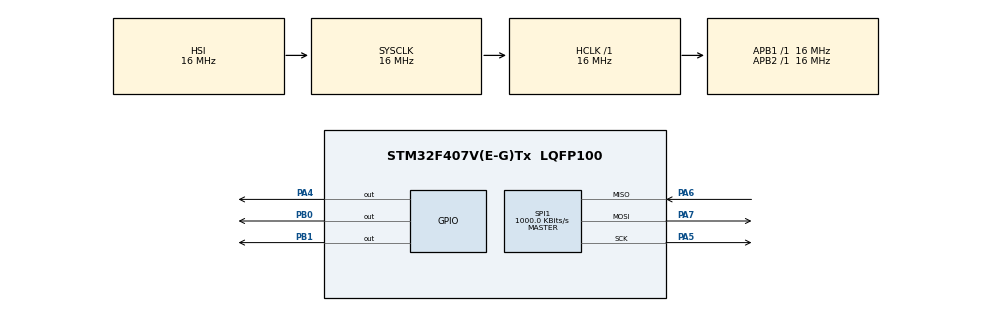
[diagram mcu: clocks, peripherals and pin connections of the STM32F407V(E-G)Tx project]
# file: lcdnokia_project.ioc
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Mcu.Family=STM32F4
Mcu.Name=STM32F407V(E-G)Tx
Mcu.Package=LQFP100
NVIC.PriorityGroup=NVIC_PRIORITYGROUP_4
PA4.Signal=GPIO_Output
PA5.Mode=Full_Duplex_Master
PA5.Signal=SPI1_SCK
PA6.Mode=Full_Duplex_Master
PA6.Signal=SPI1_MISO
PA7.Mode=Full_Duplex_Master
PA7.Signal=SPI1_MOSI
PB0.Signal=GPIO_Output
PB1.Signal=GPIO_Output
ProjectManager.HeapSize=0x200
ProjectManager.StackSize=0x400
ProjectManager.TargetToolchain=STM32CubeIDE
RCC.AHBFreq_Value=16000000
RCC.APB1Freq_Value=16000000
RCC.APB2Freq_Value=16000000
RCC.CortexFreq_Value=16000000
RCC.HSE_VALUE=25000000
RCC.HSI_VALUE=16000000
RCC.LSE_VALUE=32768
RCC.SYSCLKFreq_VALUE=16000000
RCC.VCOOutputFreq_Value=192000000
SPI1.BaudRatePrescaler=SPI_BAUDRATEPRESCALER_16
SPI1.CalculateBaudRate=1000.0 KBits/s
SPI1.Direction=SPI_DIRECTION_2LINES
SPI1.Mode=SPI_MODE_MASTER
SPI1.VirtualType=VM_MASTER
board=custom

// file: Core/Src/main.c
/* USER CODE BEGIN Header */
/**
  ******************************************************************************
  * @file           : main.c
  * @brief          : Main program body
  ******************************************************************************
  * @attention
  *
  * Copyright (c) 2025 STMicroelectronics.
  * All rights reserved.
  *
  * This software is licensed under terms that can be found in the LICENSE file
  * in the root directory of this software component.
  * If no LICENSE file comes with this software, it is provided AS-IS.
  *
  ******************************************************************************
  */
/* USER CODE END Header */
#include "main.h"
#include "string.h"

/* USER CODE BEGIN PD */
const uint8_t font5x7[][5] = {
    {0x00,0x00,0x00,0x00,0x00}, // 32 (space)
    {0x00,0x00,0x5F,0x00,0x00}, // 33 !
    {0x00,0x07,0x00,0x07,0x00}, // 34 "
    {0x14,0x7F,0x14,0x7F,0x14}, // 35 #
    {0x24,0x2A,0x7F,0x2A,0x12}, // 36 $
    {0x23,0x13,0x08,0x64,0x62}, // 37 %
    {0x36,0x49,0x55,0x22,0x50}, // 38 &
    {0x00,0x05,0x03,0x00,0x00}, // 39 '
    {0x00,0x1C,0x22,0x41,0x00}, // 40 (
    {0x00,0x41,0x22,0x1C,0x00}, // 41 )
    {0x14,0x08,0x3E,0x08,0x14}, // 42 *
    {0x08,0x08,0x3E,0x08,0x08}, // 43 +
    {0x00,0x50,0x30,0x00,0x00}, // 44 ,
    {0x08,0x08,0x08,0x08,0x08}, // 45 -
    {0x00,0x60,0x60,0x00,0x00}, // 46 .
    {0x20,0x10,0x08,0x04,0x02}, // 47 /
    {0x3E,0x51,0x49,0x45,0x3E}, // 48 0
    {0x00,0x42,0x7F,0x40,0x00}, // 49 1
    {0x42,0x61,0x51,0x49,0x46}, // 50 2
    {0x21,0x41,0x45,0x4B,0x31}, // 51 3
    {0x18,0x14,0x12,0x7F,0x10}, // 52 4
    {0x27,0x45,0x45,0x45,0x39}, // 53 5
    {0x3C,0x4A,0x49,0x49,0x30}, // 54 6
    {0x01,0x71,0x09,0x05,0x03}, // 55 7
    {0x36,0x49,0x49,0x49,0x36}, // 56 8
    {0x06,0x49,0x49,0x29,0x1E}, // 57 9
    {0x00,0x36,0x36,0x00,0x00}, // 58 :
    {0x00,0x56,0x36,0x00,0x00}, // 59 ;
    {0x08,0x14,0x22,0x41,0x00}, // 60 <
    {0x14,0x14,0x14,0x14,0x14}, // 61 =
    {0x00,0x41,0x22,0x14,0x08}, // 62 >
    {0x02,0x01,0x51,0x09,0x06}, // 63 ?
    {0x32,0x49,0x79,0x41,0x3E}, // 64 @
    {0x7E,0x11,0x11,0x11,0x7E}, // 65 A
    {0x7F,0x49,0x49,0x49,0x36}, // 66 B
    {0x3E,0x41,0x41,0x41,0x22}, // 67 C
    {0x7F,0x41,0x41,0x22,0x1C}, // 68 D
    {0x7F,0x49,0x49,0x49,0x41}, // 69 E
    {0x7F,0x09,0x09,0x09,0x01}, // 70 F
    {0x3E,0x41,0x49,0x49,0x7A}, // 71 G
    {0x7F,0x08,0x08,0x08,0x7F}, // 72 H
    {0x00,0x41,0x7F,0x41,0x00}, // 73 I
    {0x20,0x40,0x41,0x3F,0x01}, // 74 J
    {0x7F,0x08,0x14,0x22,0x41}, // 75 K
    {0x7F,0x40,0x40,0x40,0x40}, // 76 L
    {0x7F,0x02,0x0C,0x02,0x7F}, // 77 M
    {0x7F,0x04,0x08,0x10,0x7F}, // 78 N
    {0x3E,0x41,0x41,0x41,0x3E}, // 79 O
    {0x7F,0x09,0x09,0x09,0x06}, // 80 P
    {0x3E,0x41,0x51,0x21,0x5E}, // 81 Q
    {0x7F,0x09,0x19,0x29,0x46}, // 82 R
    {0x46,0x49,0x49,0x49,0x31}, // 83 S
    {0x01,0x01,0x7F,0x01,0x01}, // 84 T
    {0x3F,0x40,0x40,0x40,0x3F}, // 85 U
    {0x1F,0x20,0x40,0x20,0x1F}, // 86 V
    {0x3F,0x40,0x38,0x40,0x3F}, // 87 W
    {0x63,0x14,0x08,0x14,0x63}, // 88 X
    {0x07,0x08,0x70,0x08,0x07}, // 89 Y
    {0x61,0x51,0x49,0x45,0x43}, // 90 Z
    {0x00,0x7F,0x41,0x41,0x00}, // 91 [
    {0x02,0x04,0x08,0x10,0x20}, // 92 backslash
    {0x00,0x41,0x41,0x7F,0x00}, // 93 ]
    {0x04,0x02,0x01,0x02,0x04}, // 94 ^
    {0x40,0x40,0x40,0x40,0x40}, // 95 _
    {0x00,0x01,0x02,0x04,0x00}, // 96 `
    {0x20,0x54,0x54,0x54,0x78}, // 97 a
    {0x7F,0x48,0x44,0x44,0x38}, // 98 b
    {0x38,0x44,0x44,0x44,0x20}, // 99 c
    {0x38,0x44,0x44,0x48,0x7F}, // 100 d
    {0x38,0x54,0x54,0x54,0x18}, // 101 e
    {0x08,0x7E,0x09,0x01,0x02}, // 102 f
    {0x0C,0x52,0x52,0x52,0x3E}, // 103 g
    {0x7F,0x08,0x04,0x04,0x78}, // 104 h
    {0x00,0x44,0x7D,0x40,0x00}, // 105 i
    {0x20,0x40,0x44,0x3D,0x00}, // 106 j
    {0x7F,0x10,0x28,0x44,0x00}, // 107 k
    {0x00,0x41,0x7F,0x40,0x00}, // 108 l
    {0x7C,0x04,0x18,0x04,0x78}, // 109 m
    {0x7C,0x08,0x04,0x04,0x78}, // 110 n
    {0x38,0x44,0x44,0x44,0x38}, // 111 o
    {0x7C,0x14,0x14,0x14,0x08}, // 112 p
    {0x08,0x14,0x14,0x18,0x7C}, // 113 q
    {0x7C,0x08,0x04,0x04,0x08}, // 114 r
    {0x48,0x54,0x54,0x54,0x20}, // 115 s
    {0x04,0x3F,0x44,0x40,0x20}, // 116 t
    {0x3C,0x40,0x40,0x20,0x7C}, // 117 u
    {0x1C,0x20,0x40,0x20,0x1C}, // 118 v
    {0x3C,0x40,0x30,0x40,0x3C}, // 119 w
    {0x44,0x28,0x10,0x28,0x44}, // 120 x
    {0x0C,0x50,0x50,0x50,0x3C}, // 121 y
    {0x44,0x64,0x54,0x4C,0x44}, // 122 z
    {0x00,0x08,0x36,0x41,0x00}, // 123 {
    {0x00,0x00,0x7F,0x00,0x00}, // 124 |
    {0x00,0x41,0x36,0x08,0x00}, // 125 }
    {0x08,0x04,0x08,0x10,0x08}, // 126 ~
};

/* USER CODE END PD */

/* USER CODE BEGIN PM */
#define LCD_RST_Pin GPIO_PIN_0
#define LCD_RST_GPIO_Port GPIOB
#define LCD_CE_Pin  GPIO_PIN_4
#define LCD_CE_GPIO_Port GPIOA
#define LCD_DC_Pin  GPIO_PIN_1
#define LCD_DC_GPIO_Port GPIOB

/* USER CODE END PM */

SPI_HandleTypeDef hspi1;

void SystemClock_Config(void);
static void MX_GPIO_Init(void);
static void MX_SPI1_Init(void);
/* USER CODE BEGIN PFP */

// Komut & Data yazma
void LCD_write(uint8_t data, uint8_t isData)
{
    HAL_GPIO_WritePin(LCD_DC_GPIO_Port, LCD_DC_Pin, (isData ? GPIO_PIN_SET : GPIO_PIN_RESET));
    HAL_GPIO_WritePin(LCD_CE_GPIO_Port, LCD_CE_Pin, GPIO_PIN_RESET);
    HAL_SPI_Transmit(&hspi1, &data, 1, HAL_MAX_DELAY);
    HAL_GPIO_WritePin(LCD_CE_GPIO_Port, LCD_CE_Pin, GPIO_PIN_SET);
}

// LCD reset
void LCD_reset(void)
{
    HAL_GPIO_WritePin(LCD_RST_GPIO_Port, LCD_RST_Pin, GPIO_PIN_RESET);
    HAL_Delay(30);
    HAL_GPIO_WritePin(LCD_RST_GPIO_Port, LCD_RST_Pin, GPIO_PIN_SET);
}

// LCD init
void LCD_init(void)
{
    LCD_reset();

    LCD_write(0x21, 0); // extended commands 0010 0001
    LCD_write(0xBf, 0); // contrast   1011 1111
    LCD_write(0x04, 0); // temperature coef 0000 0100
    LCD_write(0x14, 0); // bias mode 0001 0100
    LCD_write(0x20, 0); // basic mode 0010 0000
    LCD_write(0x0C, 0); // normal display 0000 1100
}

// Cursor ayarı
void LCD_setCursor(uint8_t x, uint8_t y)
{
    LCD_write(0x80 | x, 0);
    LCD_write(0x40 | y, 0);
}

// Basit text yazdırma (5x7 font tablosu lazım)
extern const uint8_t font5x7[][5];

void LCD_printChar(char c)
{
    if(c < 0x20 || c > 0x7E) c = '?';
    for(int i=0;i<5;i++){
        LCD_write(font5x7[c - 0x20][i], 1);
    }
    LCD_write(0x00, 1); // spacing
}

void LCD_print(char *str)
{
    while(*str){
        LCD_printChar(*str++);
    }
}
/* USER CODE END PFP */

int main(void)
{

  /* MCU Configuration--------------------------------------------------------*/

  /* Reset of all peripherals, Initializes the Flash interface and the Systick. */
  HAL_Init();

  /* Configure the system clock */
  SystemClock_Config();

  /* Initialize all configured peripherals */
  MX_GPIO_Init();
  MX_SPI1_Init();
  /* USER CODE BEGIN 2 */
  LCD_init();
  LCD_setCursor(0,0);
  LCD_print("Ferit");
  LCD_setCursor(0,1);
  LCD_print("Samet");
  LCD_setCursor(0,2);
  LCD_print("Beyza");
  LCD_setCursor(0,3);
  LCD_print("ahmet");
  /* USER CODE END 2 */

  /* Infinite loop */
  while (1)
  {

  }
}

void SystemClock_Config(void)
{
  RCC_OscInitTypeDef RCC_OscInitStruct = {0};
  RCC_ClkInitTypeDef RCC_ClkInitStruct = {0};

  /** Configure the main internal regulator output voltage
  */
  __HAL_RCC_PWR_CLK_ENABLE();
  __HAL_PWR_VOLTAGESCALING_CONFIG(PWR_REGULATOR_VOLTAGE_SCALE1);

  /** Initializes the RCC Oscillators according to the specified parameters
  * in the RCC_OscInitTypeDef structure.
  */
  RCC_OscInitStruct.OscillatorType = RCC_OSCILLATORTYPE_HSI;
  RCC_OscInitStruct.HSIState = RCC_HSI_ON;
  RCC_OscInitStruct.HSICalibrationValue = RCC_HSICALIBRATION_DEFAULT;
  RCC_OscInitStruct.PLL.PLLState = RCC_PLL_NONE;
  if (HAL_RCC_OscConfig(&RCC_OscInitStruct) != HAL_OK)
  {
    Error_Handler();
  }

  /** Initializes the CPU, AHB and APB buses clocks
  */
  RCC_ClkInitStruct.ClockType = RCC_CLOCKTYPE_HCLK|RCC_CLOCKTYPE_SYSCLK
                              |RCC_CLOCKTYPE_PCLK1|RCC_CLOCKTYPE_PCLK2;
  RCC_ClkInitStruct.SYSCLKSource = RCC_SYSCLKSOURCE_HSI;
  RCC_ClkInitStruct.AHBCLKDivider = RCC_SYSCLK_DIV1;
  RCC_ClkInitStruct.APB1CLKDivider = RCC_HCLK_DIV1;
  RCC_ClkInitStruct.APB2CLKDivider = RCC_HCLK_DIV1;

  if (HAL_RCC_ClockConfig(&RCC_ClkInitStruct, FLASH_LATENCY_0) != HAL_OK)
  {
    Error_Handler();
  }
}

static void MX_SPI1_Init(void)
{

  /* SPI1 parameter configuration*/
  hspi1.Instance = SPI1;
  hspi1.Init.Mode = SPI_MODE_MASTER;
  hspi1.Init.Direction = SPI_DIRECTION_2LINES;
  hspi1.Init.DataSize = SPI_DATASIZE_8BIT;
  hspi1.Init.CLKPolarity = SPI_POLARITY_LOW;
  hspi1.Init.CLKPhase = SPI_PHASE_1EDGE;
  hspi1.Init.NSS = SPI_NSS_SOFT;
  hspi1.Init.BaudRatePrescaler = SPI_BAUDRATEPRESCALER_16;
  hspi1.Init.FirstBit = SPI_FIRSTBIT_MSB;
  hspi1.Init.TIMode = SPI_TIMODE_DISABLE;
  hspi1.Init.CRCCalculation = SPI_CRCCALCULATION_DISABLE;
  hspi1.Init.CRCPolynomial = 10;
  if (HAL_SPI_Init(&hspi1) != HAL_OK)
  {
    Error_Handler();
  }

}

static void MX_GPIO_Init(void)
{
  GPIO_InitTypeDef GPIO_InitStruct = {0};

  /* GPIO Ports Clock Enable */
  __HAL_RCC_GPIOA_CLK_ENABLE();
  __HAL_RCC_GPIOB_CLK_ENABLE();

  /*Configure GPIO pin Output Level */
  HAL_GPIO_WritePin(GPIOA, GPIO_PIN_4, GPIO_PIN_RESET);

  /*Configure GPIO pin Output Level */
  HAL_GPIO_WritePin(GPIOB, GPIO_PIN_0|GPIO_PIN_1, GPIO_PIN_RESET);

  /*Configure GPIO pin : PA4 */
  GPIO_InitStruct.Pin = GPIO_PIN_4;
  GPIO_InitStruct.Mode = GPIO_MODE_OUTPUT_PP;
  GPIO_InitStruct.Pull = GPIO_NOPULL;
  GPIO_InitStruct.Speed = GPIO_SPEED_FREQ_LOW;
  HAL_GPIO_Init(GPIOA, &GPIO_InitStruct);

  /*Configure GPIO pins : PB0 PB1 */
  GPIO_InitStruct.Pin = GPIO_PIN_0|GPIO_PIN_1;
  GPIO_InitStruct.Mode = GPIO_MODE_OUTPUT_PP;
  GPIO_InitStruct.Pull = GPIO_NOPULL;
  GPIO_InitStruct.Speed = GPIO_SPEED_FREQ_LOW;
  HAL_GPIO_Init(GPIOB, &GPIO_InitStruct);

}

void Error_Handler(void)
{
  __disable_irq();
  while (1)
  {
  }
}
